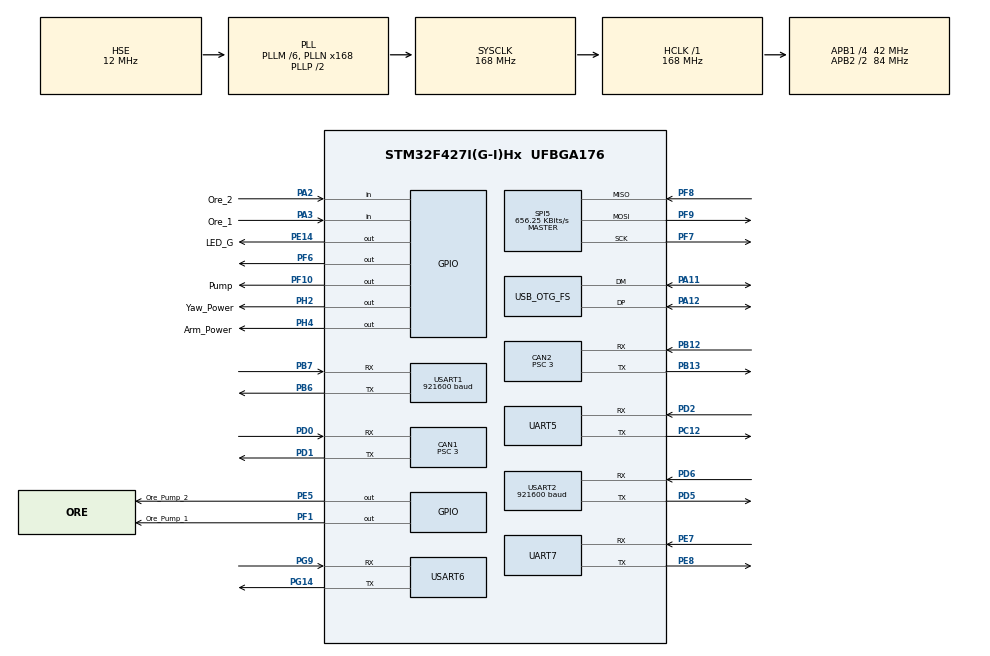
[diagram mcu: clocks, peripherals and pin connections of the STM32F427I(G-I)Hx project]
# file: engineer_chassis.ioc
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CAN1.BS1=CAN_BS1_10TQ
CAN1.BS2=CAN_BS2_3TQ
CAN1.CalculateBaudRate=1000000
CAN1.CalculateTimeBit=1000
CAN1.CalculateTimeQuantum=71.42857142857143
CAN1.Prescaler=3
CAN2.BS1=CAN_BS1_10TQ
CAN2.BS2=CAN_BS2_3TQ
CAN2.CalculateBaudRate=1000000
CAN2.CalculateTimeBit=1000
CAN2.CalculateTimeQuantum=71.42857142857143
CAN2.Prescaler=3
Dma.Request0=USART2_RX
Dma.Request1=USART2_TX
Dma.Request2=USART6_RX
Dma.Request3=USART6_TX
Dma.Request4=USART1_RX
Dma.Request5=UART7_RX
Dma.Request6=UART7_TX
Dma.Request7=USART1_TX
Dma.UART7_RX.5.Direction=DMA_PERIPH_TO_MEMORY
Dma.UART7_RX.5.FIFOMode=DMA_FIFOMODE_DISABLE
Dma.UART7_RX.5.Instance=DMA1_Stream3
Dma.UART7_RX.5.MemDataAlignment=DMA_MDATAALIGN_BYTE
Dma.UART7_RX.5.MemInc=DMA_MINC_ENABLE
Dma.UART7_RX.5.Mode=DMA_NORMAL
Dma.UART7_RX.5.PeriphDataAlignment=DMA_PDATAALIGN_BYTE
Dma.UART7_RX.5.PeriphInc=DMA_PINC_DISABLE
Dma.UART7_RX.5.Priority=DMA_PRIORITY_LOW
Dma.UART7_TX.6.Direction=DMA_MEMORY_TO_PERIPH
Dma.UART7_TX.6.FIFOMode=DMA_FIFOMODE_DISABLE
Dma.UART7_TX.6.Instance=DMA1_Stream1
Dma.UART7_TX.6.MemDataAlignment=DMA_MDATAALIGN_BYTE
Dma.UART7_TX.6.MemInc=DMA_MINC_ENABLE
Dma.UART7_TX.6.Mode=DMA_NORMAL
Dma.UART7_TX.6.PeriphDataAlignment=DMA_PDATAALIGN_BYTE
Dma.UART7_TX.6.PeriphInc=DMA_PINC_DISABLE
Dma.UART7_TX.6.Priority=DMA_PRIORITY_LOW
Dma.USART1_RX.4.Direction=DMA_PERIPH_TO_MEMORY
Dma.USART1_RX.4.FIFOMode=DMA_FIFOMODE_DISABLE
Dma.USART1_RX.4.Instance=DMA2_Stream2
Dma.USART1_RX.4.MemDataAlignment=DMA_MDATAALIGN_BYTE
Dma.USART1_RX.4.MemInc=DMA_MINC_ENABLE
Dma.USART1_RX.4.Mode=DMA_NORMAL
Dma.USART1_RX.4.PeriphDataAlignment=DMA_PDATAALIGN_BYTE
Dma.USART1_RX.4.PeriphInc=DMA_PINC_DISABLE
Dma.USART1_RX.4.Priority=DMA_PRIORITY_VERY_HIGH
Dma.USART1_TX.7.Direction=DMA_MEMORY_TO_PERIPH
Dma.USART1_TX.7.FIFOMode=DMA_FIFOMODE_DISABLE
Dma.USART1_TX.7.Instance=DMA2_Stream7
Dma.USART1_TX.7.MemDataAlignment=DMA_MDATAALIGN_BYTE
Dma.USART1_TX.7.MemInc=DMA_MINC_ENABLE
Dma.USART1_TX.7.Mode=DMA_NORMAL
Dma.USART1_TX.7.PeriphDataAlignment=DMA_PDATAALIGN_BYTE
Dma.USART1_TX.7.PeriphInc=DMA_PINC_DISABLE
Dma.USART1_TX.7.Priority=DMA_PRIORITY_VERY_HIGH
Dma.USART2_RX.0.Direction=DMA_PERIPH_TO_MEMORY
Dma.USART2_RX.0.FIFOMode=DMA_FIFOMODE_DISABLE
Dma.USART2_RX.0.Instance=DMA1_Stream5
Dma.USART2_RX.0.MemDataAlignment=DMA_MDATAALIGN_BYTE
Dma.USART2_RX.0.MemInc=DMA_MINC_ENABLE
Dma.USART2_RX.0.Mode=DMA_NORMAL
Dma.USART2_RX.0.PeriphDataAlignment=DMA_PDATAALIGN_BYTE
Dma.USART2_RX.0.PeriphInc=DMA_PINC_DISABLE
Dma.USART2_RX.0.Priority=DMA_PRIORITY_VERY_HIGH
Dma.USART2_TX.1.Direction=DMA_MEMORY_TO_PERIPH
Dma.USART2_TX.1.FIFOMode=DMA_FIFOMODE_DISABLE
Dma.USART2_TX.1.Instance=DMA1_Stream6
Dma.USART2_TX.1.MemDataAlignment=DMA_MDATAALIGN_BYTE
Dma.USART2_TX.1.MemInc=DMA_MINC_ENABLE
Dma.USART2_TX.1.Mode=DMA_NORMAL
Dma.USART2_TX.1.PeriphDataAlignment=DMA_PDATAALIGN_BYTE
Dma.USART2_TX.1.PeriphInc=DMA_PINC_DISABLE
Dma.USART2_TX.1.Priority=DMA_PRIORITY_VERY_HIGH
Dma.USART6_RX.2.Direction=DMA_PERIPH_TO_MEMORY
Dma.USART6_RX.2.FIFOMode=DMA_FIFOMODE_DISABLE
Dma.USART6_RX.2.Instance=DMA2_Stream1
Dma.USART6_RX.2.MemDataAlignment=DMA_MDATAALIGN_BYTE
Dma.USART6_RX.2.MemInc=DMA_MINC_ENABLE
Dma.USART6_RX.2.Mode=DMA_NORMAL
Dma.USART6_RX.2.PeriphDataAlignment=DMA_PDATAALIGN_BYTE
Dma.USART6_RX.2.PeriphInc=DMA_PINC_DISABLE
Dma.USART6_RX.2.Priority=DMA_PRIORITY_HIGH
Dma.USART6_TX.3.Direction=DMA_MEMORY_TO_PERIPH
Dma.USART6_TX.3.FIFOMode=DMA_FIFOMODE_DISABLE
Dma.USART6_TX.3.Instance=DMA2_Stream6
Dma.USART6_TX.3.MemDataAlignment=DMA_MDATAALIGN_BYTE
Dma.USART6_TX.3.MemInc=DMA_MINC_ENABLE
Dma.USART6_TX.3.Mode=DMA_NORMAL
Dma.USART6_TX.3.PeriphDataAlignment=DMA_PDATAALIGN_BYTE
Dma.USART6_TX.3.PeriphInc=DMA_PINC_DISABLE
Dma.USART6_TX.3.Priority=DMA_PRIORITY_LOW
FREERTOS.Tasks01=defaultTask,0,128,StartDefaultTask,Default,NULL,Dynamic,NULL,NULL
Mcu.Family=STM32F4
Mcu.Name=STM32F427I(G-I)Hx
Mcu.Package=UFBGA176
NVIC.CAN1_RX0_IRQn=true\:5\:0\:false\:false\:true\:true\:true\:true\:true
NVIC.CAN2_RX0_IRQn=true\:5\:0\:false\:false\:true\:true\:true\:true\:true
NVIC.DMA1_Stream1_IRQn=true\:5\:0\:false\:false\:true\:true\:false\:true\:true
NVIC.DMA1_Stream3_IRQn=true\:5\:0\:false\:false\:true\:true\:false\:true\:true
NVIC.DMA1_Stream5_IRQn=true\:5\:0\:false\:false\:true\:true\:false\:true\:true
NVIC.DMA1_Stream6_IRQn=true\:5\:0\:false\:false\:true\:true\:false\:true\:true
NVIC.DMA2_Stream1_IRQn=true\:5\:0\:false\:false\:true\:true\:false\:true\:true
NVIC.DMA2_Stream2_IRQn=true\:5\:0\:false\:false\:true\:true\:false\:true\:true
NVIC.DMA2_Stream6_IRQn=true\:5\:0\:false\:false\:true\:true\:false\:true\:true
NVIC.DMA2_Stream7_IRQn=true\:5\:0\:false\:false\:true\:true\:false\:true\:true
NVIC.OTG_FS_IRQn=true\:5\:0\:false\:false\:true\:true\:false\:true\:true
NVIC.PriorityGroup=NVIC_PRIORITYGROUP_4
NVIC.UART7_IRQn=true\:5\:0\:false\:false\:true\:true\:true\:true\:true
NVIC.USART1_IRQn=true\:5\:0\:false\:false\:true\:true\:true\:true\:true
NVIC.USART2_IRQn=true\:5\:0\:false\:false\:true\:true\:false\:true\:true
NVIC.USART6_IRQn=true\:5\:0\:false\:false\:true\:true\:false\:true\:true
PA11.Mode=Device_Only
PA11.Signal=USB_OTG_FS_DM
PA12.Mode=Device_Only
PA12.Signal=USB_OTG_FS_DP
PA13.Mode=Serial_Wire
PA13.Signal=SYS_JTMS-SWDIO
PA14.Mode=Serial_Wire
PA14.Signal=SYS_JTCK-SWCLK
PA2.GPIO_Label=Ore_2
PA2.GPIO_PuPd=GPIO_PULLUP
PA2.Signal=GPIO_Input
PA3.GPIO_Label=Ore_1
PA3.GPIO_PuPd=GPIO_PULLUP
PA3.Signal=GPIO_Input
PB12.Mode=CAN_Activate
PB12.Signal=CAN2_RX
PB13.Mode=CAN_Activate
PB13.Signal=CAN2_TX
PB6.Mode=Asynchronous
PB6.Signal=USART1_TX
PB7.Mode=Asynchronous
PB7.Signal=USART1_RX
PC12.Mode=Asynchronous
PC12.Signal=UART5_TX
PD0.Mode=CAN_Activate
PD0.Signal=CAN1_RX
PD1.Mode=CAN_Activate
PD1.Signal=CAN1_TX
PD2.Mode=Asynchronous
PD2.Signal=UART5_RX
PD5.Mode=Asynchronous
PD5.Signal=USART2_TX
PD6.Mode=Asynchronous
PD6.Signal=USART2_RX
PE14.GPIO_Label=LED_G
PE14.GPIO_PuPd=GPIO_PULLDOWN
PE14.Signal=GPIO_Output
PE5.GPIO_Label=Ore_Pump_2
PE5.GPIO_ModeDefaultOutputPP=GPIO_MODE_OUTPUT_PP
PE5.GPIO_PuPd=GPIO_PULLUP
PE5.GPIO_Speed=GPIO_SPEED_FREQ_HIGH
PE5.Signal=GPIO_Output
PE7.Mode=Asynchronous
PE7.Signal=UART7_RX
PE8.Mode=Asynchronous
PE8.Signal=UART7_TX
PF1.GPIO_Label=Ore_Pump_1
PF1.GPIO_PuPd=GPIO_PULLUP
PF1.GPIO_Speed=GPIO_SPEED_FREQ_HIGH
PF1.Signal=GPIO_Output
PF10.GPIO_Label=Pump
PF10.GPIO_PuPd=GPIO_PULLUP
PF10.GPIO_Speed=GPIO_SPEED_FREQ_HIGH
PF10.Signal=GPIO_Output
PF6.Signal=GPIO_Output
PF7.Mode=Full_Duplex_Master
PF7.Signal=SPI5_SCK
PF8.Mode=Full_Duplex_Master
PF8.Signal=SPI5_MISO
PF9.Mode=Full_Duplex_Master
PF9.Signal=SPI5_MOSI
PG14.Mode=Asynchronous
PG14.Signal=USART6_TX
PG9.Mode=Asynchronous
PG9.Signal=USART6_RX
PH0/OSC_IN.Mode=HSE-External-Oscillator
PH0/OSC_IN.Signal=RCC_OSC_IN
PH1/OSC_OUT.Mode=HSE-External-Oscillator
PH1/OSC_OUT.Signal=RCC_OSC_OUT
PH2.GPIO_Label=Yaw_Power
PH2.GPIO_ModeDefaultOutputPP=GPIO_MODE_OUTPUT_PP
PH2.GPIO_PuPd=GPIO_PULLUP
PH2.GPIO_Speed=GPIO_SPEED_FREQ_HIGH
PH2.PinState=GPIO_PIN_SET
PH2.Signal=GPIO_Output
PH4.GPIO_Label=Arm_Power
PH4.GPIO_PuPd=GPIO_PULLUP
PH4.GPIO_Speed=GPIO_SPEED_FREQ_HIGH
PH4.Signal=GPIO_Output
ProjectManager.HeapSize=0x2000
ProjectManager.StackSize=0x2000
ProjectManager.TargetToolchain=MDK-ARM V5.32
RCC.48MHZClocksFreq_Value=48000000
RCC.AHBFreq_Value=168000000
RCC.APB1CLKDivider=RCC_HCLK_DIV4
RCC.APB1Freq_Value=42000000
RCC.APB1TimFreq_Value=84000000
RCC.APB2CLKDivider=RCC_HCLK_DIV2
RCC.APB2Freq_Value=84000000
RCC.APB2TimFreq_Value=168000000
RCC.CortexFreq_Value=168000000
RCC.HCLKFreq_Value=168000000
RCC.HSE_VALUE=12000000
RCC.HSI_VALUE=16000000
RCC.LSE_VALUE=32768
RCC.PLLM=6
RCC.PLLN=168
RCC.PLLQ=7
RCC.SYSCLKFreq_VALUE=168000000
RCC.SYSCLKSource=RCC_SYSCLKSOURCE_PLLCLK
RCC.VCOOutputFreq_Value=336000000
SPI5.BaudRatePrescaler=SPI_BAUDRATEPRESCALER_128
SPI5.CalculateBaudRate=656.25 KBits/s
SPI5.Direction=SPI_DIRECTION_2LINES
SPI5.Mode=SPI_MODE_MASTER
SPI5.VirtualType=VM_MASTER
UART5.VirtualMode=Asynchronous
UART7.VirtualMode=Asynchronous
USART1.BaudRate=921600
USART1.VirtualMode=VM_ASYNC
USART2.BaudRate=921600
USART2.VirtualMode=VM_ASYNC
USART6.VirtualMode=VM_ASYNC
USB_DEVICE.CLASS_NAME_FS=CDC
USB_DEVICE.VirtualMode-CDC_FS=Cdc
USB_DEVICE.VirtualModeFS=Cdc_FS
USB_OTG_FS.VirtualMode=Device_Only
VP_FREERTOS_VS_CMSIS_V1.Mode=CMSIS_V1
VP_USB_DEVICE_VS_USB_DEVICE_CDC_FS.Mode=CDC_FS
board=custom

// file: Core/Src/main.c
/* USER CODE BEGIN Header */
/**
  ******************************************************************************
  * @file           : main.c
  * @brief          : Main program body
  ******************************************************************************
  * @attention
  *
  * <h2><center>&copy; Copyright (c) 2022 STMicroelectronics.
  * All rights reserved.</center></h2>
  *
  * This software component is licensed by ST under Ultimate Liberty license
  * SLA0044, the "License"; You may not use this file except in compliance with
  * the License. You may obtain a copy of the License at:
  *                             www.st.com/SLA0044
  *
  ******************************************************************************
  */
/* USER CODE END Header */
#include "main.h"
#include "cmsis_os.h"
#include "can.h"
#include "dma.h"
#include "spi.h"
#include "usart.h"
#include "usb_device.h"
#include "gpio.h"

/* USER CODE BEGIN Includes */
#include "bsp_rc.h"
#include "bsp_can.h"
#include "bsp_gyro.h"
#include "bsp_usart.h"
#include "remote_control.h"
#include "bsp_dwt.h"
#include "referee_usart_task.h"
/* USER CODE END Includes */

void SystemClock_Config(void);
void MX_FREERTOS_Init(void);

int main(void)
{

  /* MCU Configuration--------------------------------------------------------*/

  /* Reset of all peripherals, Initializes the Flash interface and the Systick. */
	HAL_Init();

  /* Configure the system clock */
  SystemClock_Config();

  /* Initialize all configured peripherals */
  MX_GPIO_Init();
  MX_DMA_Init();
  MX_CAN1_Init();
  MX_CAN2_Init();
  MX_SPI5_Init();
  MX_UART5_Init();
  MX_USART1_UART_Init();
  MX_USART2_UART_Init();
  MX_USART6_UART_Init();
  MX_UART7_Init();
  /* USER CODE BEGIN 2 */
	serial2_selfcontrol_rc_init();
	can_filter_init();
//	uart4_init();
	uart6_init();
	uart7_init();
	DWT_Init(168);
  /* USER CODE END 2 */

  /* Call init function for freertos objects (in cmsis_os2.c) */
  MX_FREERTOS_Init();

  /* Start scheduler */
  osKernelStart();

  /* We should never get here as control is now taken by the scheduler */

  /* Infinite loop */
  while (1)
  {

  }
}

void SystemClock_Config(void)
{
  RCC_OscInitTypeDef RCC_OscInitStruct = {0};
  RCC_ClkInitTypeDef RCC_ClkInitStruct = {0};

  /** Configure the main internal regulator output voltage
  */
  __HAL_RCC_PWR_CLK_ENABLE();
  __HAL_PWR_VOLTAGESCALING_CONFIG(PWR_REGULATOR_VOLTAGE_SCALE1);

  /** Initializes the RCC Oscillators according to the specified parameters
  * in the RCC_OscInitTypeDef structure.
  */
  RCC_OscInitStruct.OscillatorType = RCC_OSCILLATORTYPE_HSE;
  RCC_OscInitStruct.HSEState = RCC_HSE_ON;
  RCC_OscInitStruct.PLL.PLLState = RCC_PLL_ON;
  RCC_OscInitStruct.PLL.PLLSource = RCC_PLLSOURCE_HSE;
  RCC_OscInitStruct.PLL.PLLM = 6;
  RCC_OscInitStruct.PLL.PLLN = 168;
  RCC_OscInitStruct.PLL.PLLP = RCC_PLLP_DIV2;
  RCC_OscInitStruct.PLL.PLLQ = 7;
  if (HAL_RCC_OscConfig(&RCC_OscInitStruct) != HAL_OK)
  {
    Error_Handler();
  }

  /** Initializes the CPU, AHB and APB buses clocks
  */
  RCC_ClkInitStruct.ClockType = RCC_CLOCKTYPE_HCLK|RCC_CLOCKTYPE_SYSCLK
                              |RCC_CLOCKTYPE_PCLK1|RCC_CLOCKTYPE_PCLK2;
  RCC_ClkInitStruct.SYSCLKSource = RCC_SYSCLKSOURCE_PLLCLK;
  RCC_ClkInitStruct.AHBCLKDivider = RCC_SYSCLK_DIV1;
  RCC_ClkInitStruct.APB1CLKDivider = RCC_HCLK_DIV4;
  RCC_ClkInitStruct.APB2CLKDivider = RCC_HCLK_DIV2;

  if (HAL_RCC_ClockConfig(&RCC_ClkInitStruct, FLASH_LATENCY_5) != HAL_OK)
  {
    Error_Handler();
  }
}

void Error_Handler(void)
{
  __disable_irq();
  while (1)
  {
  }
}

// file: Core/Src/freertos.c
/* USER CODE BEGIN Header */
/**
  ******************************************************************************
  * File Name          : freertos.c
  * Description        : Code for freertos applications
  ******************************************************************************
  * @attention
  *
  * Copyright (c) 2025 STMicroelectronics.
  * All rights reserved.
  *
  * This software is licensed under terms that can be found in the LICENSE file
  * in the root directory of this software component.
  * If no LICENSE file comes with this software, it is provided AS-IS.
  *
  ******************************************************************************
  */
/* USER CODE END Header */

#include "FreeRTOS.h"
#include "task.h"
#include "main.h"
#include "cmsis_os.h"

/* USER CODE BEGIN Includes */
#include "chassis_task.h"
#include "imu_task.h"
#include "nx_communicate.h"
#include "arm_control_task.h"
#include "boards_communicate.h"
#include "referee_usart_task.h"
/* USER CODE END Includes */

osThreadId defaultTaskHandle;

/* USER CODE BEGIN FunctionPrototypes */
osThreadId chassisTaskHandle;

osThreadId imuTaskHandle;

osThreadId nxcommunicateHandle;

osThreadId uiTaskHandle;

osThreadId boardscommunicateHandle;

//osThreadId pcinfoHandle;

osThreadId armcontroltaskHandle;

osThreadId RefereeusartTaskHandle;
/* USER CODE END FunctionPrototypes */

void StartDefaultTask(void const * argument);

extern void MX_USB_DEVICE_Init(void);
void MX_FREERTOS_Init(void); /* (MISRA C 2004 rule 8.1) */

/* GetIdleTaskMemory prototype (linked to static allocation support) */
void vApplicationGetIdleTaskMemory( StaticTask_t **ppxIdleTaskTCBBuffer, StackType_t **ppxIdleTaskStackBuffer, uint32_t *pulIdleTaskStackSize );

/* USER CODE BEGIN GET_IDLE_TASK_MEMORY */
static StaticTask_t xIdleTaskTCBBuffer;
static StackType_t xIdleStack[configMINIMAL_STACK_SIZE];

void vApplicationGetIdleTaskMemory( StaticTask_t **ppxIdleTaskTCBBuffer, StackType_t **ppxIdleTaskStackBuffer, uint32_t *pulIdleTaskStackSize )
{
  *ppxIdleTaskTCBBuffer = &xIdleTaskTCBBuffer;
  *ppxIdleTaskStackBuffer = &xIdleStack[0];
  *pulIdleTaskStackSize = configMINIMAL_STACK_SIZE;
  /* place for user code */
}
/* USER CODE END GET_IDLE_TASK_MEMORY */

void MX_FREERTOS_Init(void) {

  /* Create the thread(s) */
  /* definition and creation of defaultTask */
  osThreadDef(defaultTask, StartDefaultTask, osPriorityNormal, 0, 128);
  defaultTaskHandle = osThreadCreate(osThread(defaultTask), NULL);

  /* USER CODE BEGIN RTOS_THREADS */
	osThreadDef(ChassisTask, chassis_task, osPriorityNormal, 0, 1024);
  chassisTaskHandle = osThreadCreate(osThread(ChassisTask), NULL);

//	osThreadDef(ImuTask, imu_task, osPriorityNormal, 0, 256);
//	imuTaskHandle = osThreadCreate(osThread(ImuTask), NULL);

	osThreadDef(NxTask, nx_communicate_task, osPriorityNormal, 0, 128);
	nxcommunicateHandle = osThreadCreate(osThread(NxTask), NULL);

//	osThreadDef(UITask, UI_task, osPriorityNormal, 0, 128);
//	uiTaskHandle = osThreadCreate(osThread(UITask), NULL);

	osThreadDef(BoardCommunicate, board_communicate_task, osPriorityNormal, 0, 128);
	uiTaskHandle = osThreadCreate(osThread(BoardCommunicate), NULL);

//	osThreadDef(pcinfo, pc_info_task, osPriorityNormal, 0, 128);
//	pcinfoHandle = osThreadCreate(osThread(pcinfo), NULL);

	osThreadDef(ArmControlTask, arm_control_task, osPriorityNormal, 0, 2048);
	uiTaskHandle = osThreadCreate(osThread(ArmControlTask), NULL);

	osThreadDef(RefereeusartTask, referee_usart_task, osPriorityNormal, 0, 128);
  RefereeusartTaskHandle = osThreadCreate(osThread(RefereeusartTask), NULL);
  /* add threads, ... */
  /* USER CODE END RTOS_THREADS */

}

void StartDefaultTask(void const * argument)
{
  /* init code for USB_DEVICE */
  MX_USB_DEVICE_Init();
  for(;;)
  {
    osDelay(1);
  }
}
